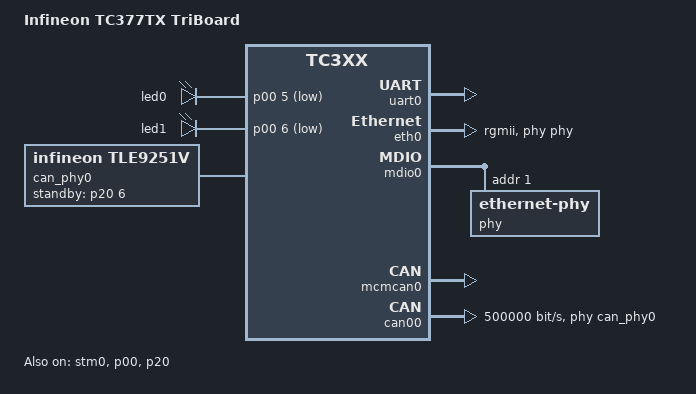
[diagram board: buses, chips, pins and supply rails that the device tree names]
/*
 * Copyright (c) 2024 Infineon Technologies AG
 *
 * SPDX-License-Identifier: Apache-2.0
 */

/dts-v1/;

#include <infineon/tc377tx.dtsi>

/ {
	model = "Infineon TC377TX TriBoard";
	compatible = "infineon,kit_a2g_tc377tx_3v3_e_tr_3v3_e_tr",
	             "infineon,tc377tc",
	             "infineon,tc3xx";

	chosen {
		zephyr,flash = &flash0;
		zephyr,sram = &dsram0;
		zephyr,itcm = &psram0;
		zephyr,console = &uart0;
		infineon,system-timer = &stm0;
	};

	leds {
		compatible = "gpio-leds";
		led0: led_0 {
			gpios = <&p00 5 GPIO_ACTIVE_LOW>;
		};
		led1: led_1 {
			gpios = <&p00 6 GPIO_ACTIVE_LOW>;
		};
	};

	aliases {
		led0 = &led0;
	};

	can_phy0: can-phy0 {
		compatible = "infineon,tle9251v", "can-transceiver-gpio";
		standby-gpios = <&p20 6 0>;
		max-bitrate = <5000000>;
		#phy-cells = <0>;
	};
};

&fosc {
	clock-frequency = <DT_FREQ_M(20)>;
	status = "okay";
};

&stm0 {
	status = "okay";
	freeze;
};

&p00 {
	status = "okay";
};

&p20 {
	status = "okay";
};

&uart0 {
	status = "okay";
	pinctrl-0 = <&asclin0_tx_p14_0>, <&asclin0_rx_p14_1>;
	pinctrl-names = "default";
};

&geth_grefclk_p11_5 {
	drive-strength = "rgmii";
};
&geth_rxclk_p11_12 {
	drive-strength = "rgmii";
};
&geth_rxdv_p11_11 {
	drive-strength = "rgmii";
};
&geth_rxd0_p11_10 {
	drive-strength = "rgmii";
};
&geth_rxd1_p11_9 {
	drive-strength = "rgmii";
};
&geth_rxd2_p11_8 {
	drive-strength = "rgmii";
};
&geth_rxd3_p11_7 {
	drive-strength = "rgmii";
};

&geth_txclk_p11_4 {
	drive-strength = "rgmii";
};
&geth_txen_p11_6 {
	drive-strength = "rgmii";
};
&geth_txd0_p11_3 {
	drive-strength = "rgmii";
};
&geth_txd1_p11_2 {
	drive-strength = "rgmii";
};
&geth_txd2_p11_1 {
	drive-strength = "rgmii";
};
&geth_txd3_p11_0 {
	drive-strength = "rgmii";
};

&eth0 {
	status = "okay";
	pinctrl-0 = <&geth_grefclk_p11_5>,
				<&geth_rxclk_p11_12>,
	            <&geth_rxdv_p11_11>,
	            <&geth_rxd0_p11_10>,
	            <&geth_rxd1_p11_9>,
	            <&geth_rxd2_p11_8>,
	            <&geth_rxd3_p11_7>,
				<&geth_txclk_p11_4>,
	            <&geth_txen_p11_6>,
	            <&geth_txd0_p11_3>,
	            <&geth_txd1_p11_2>,
				<&geth_txd2_p11_1>,
	            <&geth_txd3_p11_0>;
	pinctrl-names = "default";
	phy-connection-type = "rgmii";
	phy-handle = <&phy>;
};

&mdio0 {
	status = "okay";

	pinctrl-0 = <&geth_mdc_p12_0>, <&geth_mdio_p12_1>;
	pinctrl-names = "default";

	phy: ethernet-phy@1 {
		compatible = "ethernet-phy";
		reg = <1>;
	};
};

&mcmcan0 {
	status = "okay";
};

&can00 {
	status = "okay";
	bus-speed = <500000>;
	bus-speed-data = <2000000>;
	pinctrl-0 = <&can00_tx_p20_8>, <&can00_rx_p20_7>;
	pinctrl-names = "default";
	phys = <&can_phy0>;
};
